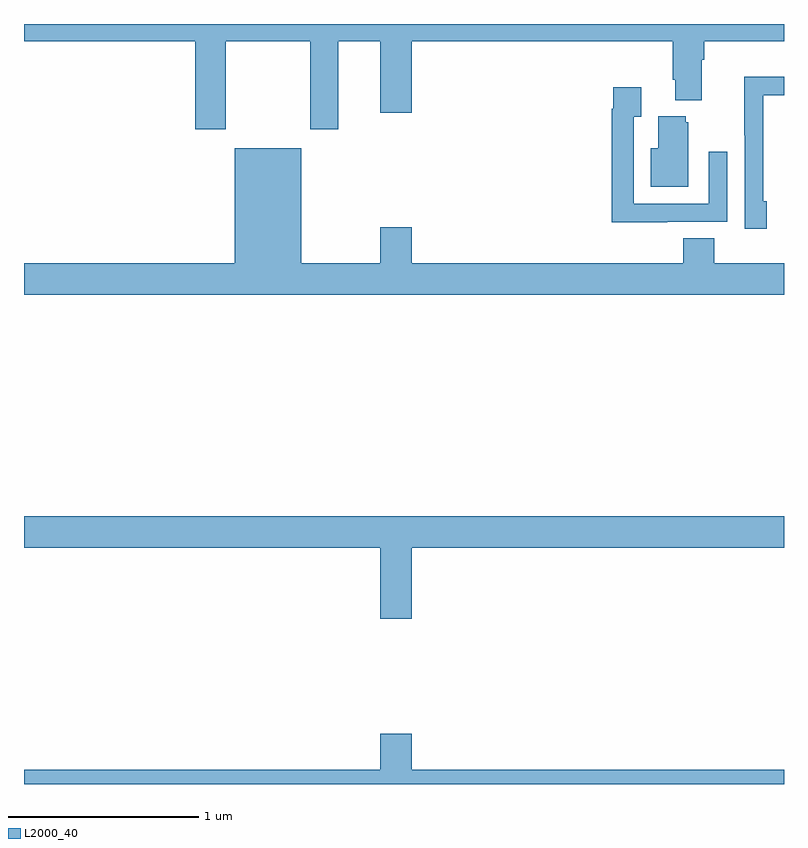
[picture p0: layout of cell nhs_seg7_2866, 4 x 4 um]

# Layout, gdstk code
import gdstk
lib = gdstk.Library(unit=1e-6, precision=1e-09)
def P(c, l, *ps):  # polygons
    for p in ps: c.add(gdstk.Polygon(p, *l))
L2000_40 = (2000, 40)

nhs_seg7_2866 = lib.new_cell('nhs_seg7_2866')
P(nhs_seg7_2866, L2000_40, [(295,1041.908),(295.901,1041.908),(295.901,1041.447),(296.061,1041.447),(296.061,1041.908),(296.506,1041.908),(296.506,1041.447),(296.653,1041.447),(296.653,1041.908),(296.876,1041.908),(296.876,1041.534),(297.04,1041.534),(297.04,1041.908),(298.415,1041.908),(298.415,1041.706),(298.427,1041.706),(298.427,1041.599),(298.567,1041.599),(298.567,1041.812),(298.58,1041.812),(298.58,1041.908),(299,1041.908),(299,1042),(295,1042)],
  [(298.909,1041.066),(298.89,1041.066),(298.89,1041.624),(299,1041.624),(299,1041.722),(298.792,1041.722),(298.792,1041.415),(298.794,1041.415),(298.794,1040.922),(298.909,1040.922)],
  [(298.385,1040.958),(298.701,1040.958),(298.701,1041.328),(298.605,1041.328),(298.605,1041.054),(298.209,1041.054),(298.209,1041.511),(298.249,1041.511),(298.249,1041.667),(298.101,1041.667),(298.101,1041.554),(298.093,1041.554),(298.093,1040.957),(298.385,1040.957)],
  [(298.495,1041.483),(298.484,1041.483),(298.484,1041.514),(298.337,1041.514),(298.337,1041.346),(298.298,1041.346),(298.298,1041.143),(298.495,1041.143)],
  [(299,1040.74),(298.634,1040.74),(298.634,1040.873),(298.469,1040.873),(298.469,1040.74),(297.04,1040.74),(297.04,1040.929),(296.876,1040.929),(296.876,1040.74),(296.458,1040.74),(296.458,1041.346),(296.108,1041.346),(296.108,1040.74),(295,1040.74),(295,1040.576),(299,1040.576)],
  [(297.04,1039.244),(299,1039.244),(299,1039.408),(295,1039.408),(295,1039.244),(296.876,1039.244),(296.876,1038.87),(297.04,1038.87)],
  [(299,1038.076),(297.04,1038.076),(297.04,1038.265),(296.876,1038.265),(296.876,1038.076),(295,1038.076),(295,1038),(299,1038)])

lib.write_gds('nhs_seg7_2866.gds')
